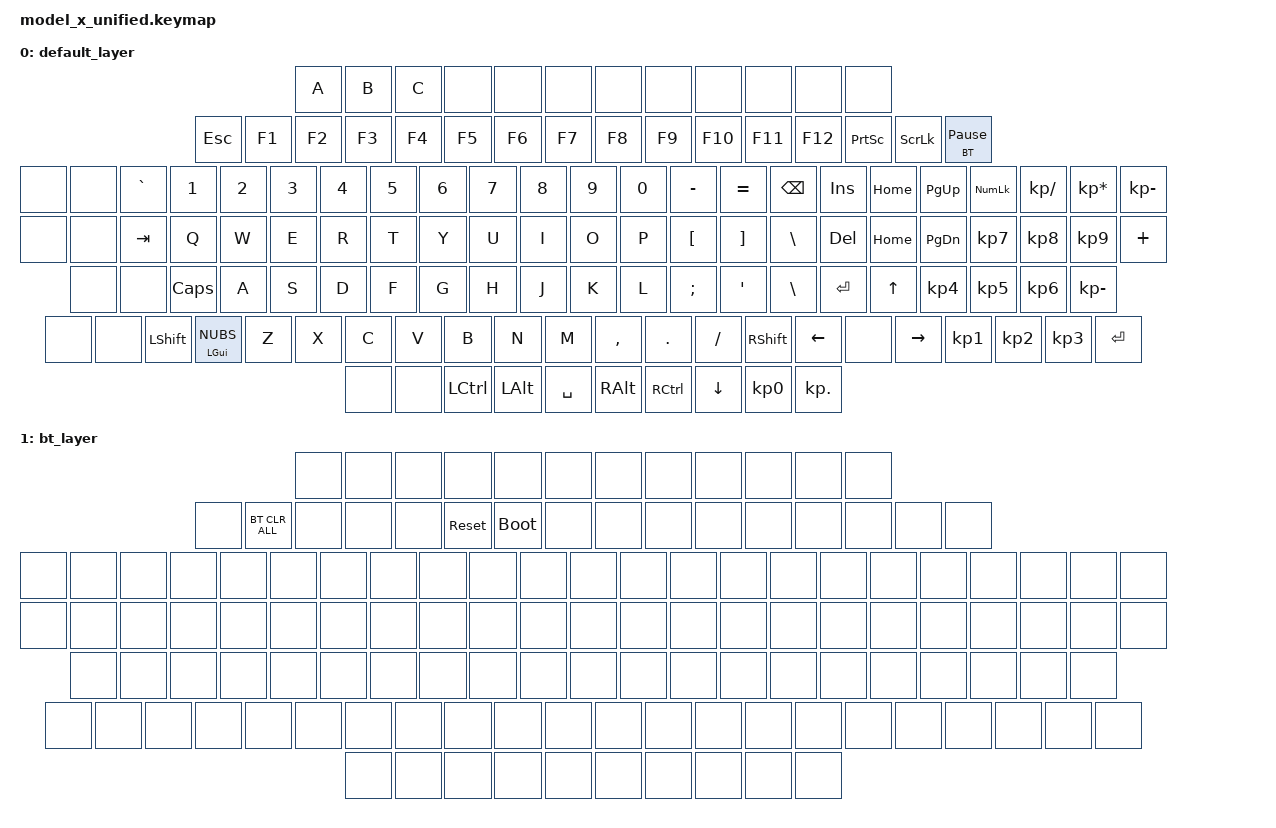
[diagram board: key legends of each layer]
/*
 * Copyright (c) 2020 The ZMK Contributors
 *
 * SPDX-License-Identifier: MIT
 */

#include <behaviors.dtsi>
#include <dt-bindings/zmk/keys.h>
#include <dt-bindings/zmk/bt.h>
#include <dt-bindings/zmk/outputs.h>
#include <dt-bindings/zmk/ext_power.h>

#define DEFAULT 0
#define BT      1

/ {
    keymap {
        compatible = "zmk,keymap";


        default_layer {
        //                          -------------------------------------------------------------------------------------------------
        //                          | PF13  | PF14  | PF15  | PF16  | PF17  | PF18  | PF19  | PF20  | PF21  | PF22  | PF23  | PF24  |
        //          | Esc   |       | PF1   | PF2   | PF3   | PF4   | PF5   | PF6   | PF7   | PF8   | PF9   | PF10  | PF11  | PF12  |                               |PrtSCR | SLCK  |BREAK  |
        //  -------------------------------------------------------------------------------------------------------------------------------------------------
        //  | Attn  | Clear |       |  `    |  1    |  2    |  3    |  4    |  5    |  6    |  7    |  8    |  9    |  0    |  -    |  =    |   BKSP        |       |INSERT | HOME  |PAGE_UP|           | BL_NUM     | KP_SLASH   | STAR       | KP_MINUS   |
        //  | Blank | ErImp |       |    TAB    |  Q    |  W    |  E    |  R    |  T    |  Y    |  U    |  I    |  O    |  P    |   [   |   ]   |  Ansi \   |       |DELETE | END   |PAGE_DW            | KP_N7      | KP_N8      | KP_N9      | KP_PLUS    |
        //  | ExSel | ErEOF |       | CAPS        |   A   |   S   |   D   |   F   |   G   |   H   |   J   |   K   |   L   |   ;   |   '   | Iso \ |  ENTER  |               |  UP   |                   | KP N4      | KP N5      | KP N6      | M122 -     |
        //  | Print |  Test |       | LSHIFT  |   <>  |   Z   |   X   |   C   |   V   |   B   |   N   |   M   |   ,   |   .   |   /   |        RSHIFT       |       | LEFT  | Blank | RIGHT |           | KP N1      | KP N2      | KP N3      | K ENT      |
        //  |  ??   |  ??   |       |   Reset   |       |    ALT    |                        SPACE                          |    ALT    |       |   Enter   |               | DOWN  |                   |     KP 0                | KP .       |            |
        //  -------------------------------------------------------------------------------------------------------------------------------------------------
            bindings = <
        //                          -------------------------------------------------------------------------------------------------
        //                          | PF13  | PF14  | PF15  | PF16  | PF17  | PF18  | PF19  | PF20  | PF21  | PF22  | PF23  | PF24  |
                                     &kp A   &kp B   &kp C   &none   &none   &none   &none   &none   &none   &none   &none   &none

        //          | Esc   |       | PF1   | PF2   | PF3   | PF4   | PF5   | PF6   | PF7   | PF8   | PF9   | PF10  | PF11  | PF12  |                               |PrtSCR | SLCK  |BREAK  |
                     &kp ESC         &kp F1  &kp F2  &kp F3  &kp F4  &kp F5  &kp F6  &kp F7  &kp F8  &kp F9  &kp F10 &kp F11 &kp F12                              &kp PSCRN &kp SLCK &lt BT PAUSE_BREAK

        //  -------------------------------------------------------------------------------------------------------------------------------------------------
        //  | Attn  | Clear |       |  `    |  1    |  2    |  3    |  4    |  5    |  6    |  7    |  8    |  9    |  0    |  -    |  =    |   BKSP        |       |INSERT | HOME  |PAGE_UP|           | BL_NUM     | KP_SLASH   | STAR       | KP_MINUS   |
              &none  &none         &kp GRAVE &kp N1  &kp N2  &kp N3  &kp N4  &kp N5  &kp N6  &kp N7  &kp N8  &kp N9 &kp N0 &kp MINUS &kp EQUAL   &kp BSPC          &kp INS  &kp HOME &kp PAGE_UP    &kp KP_NUMLOCK &kp KP_SLASH &kp KP_ASTERISK &kp KP_MINUS

        //  | Blank | ErImp |       |    TAB    |  Q    |  W    |  E    |  R    |  T    |  Y    |  U    |  I    |  O    |  P    |   [   |   ]   |  Ansi \   |       |DELETE | END   |PAGE_DW            | KP_N7      | KP_N8      | KP_N9      | KP_PLUS    |
              &none  &none            &kp TAB   &kp Q     &kp W   &kp E  &kp R   &kp T   &kp Y   &kp U   &kp I   &kp O   &kp P  &kp LBKT &kp RBKT &kp BSLH         &kp DEL  &kp HOME &kp PG_DN           &kp KP_N7    &kp KP_N8    &kp KP_N9    &kp PLUS

        //  | ExSel | ErEOF |       | CAPS        |   A   |   S   |   D   |   F   |   G   |   H   |   J   |   K   |   L   |   ;   |   '   | Iso \ |  ENTER  |               |  UP   |                   | KP N4      | KP N5      | KP N6      | M122 -     |
              &none  &none             &kp CLCK    &kp A   &kp S   &kp D   &kp F   &kp G   &kp H   &kp J   &kp K   &kp L  &kp SEMI &kp SQT &kp BSLH  &kp RET                 &kp UP                      &kp KP_N4    &kp KP_N5    &kp KP_N6    &kp KP_MINUS

        //  | Print |  Test |       | LSHIFT  |   <>  |   Z   |   X   |   C   |   V   |   B   |   N   |   M   |   ,   |   .   |   /   |        RSHIFT       |       | LEFT  | Blank | RIGHT |           | KP N1      | KP N2      | KP N3      | K ENT      |
              &none  &none        &kp LSHFT &mt LGUI NUBS &kp Z &kp X   &kp C  &kp V   &kp B   &kp N   &kp M  &kp COMMA &kp DOT &kp FSLH     &kp RSHFT              &kp LEFT  &none  &kp RIGHT           &kp KP_N1    &kp KP_N2    &kp KP_N3    &kp RET

        //  |  ??   |  ??   |       |   Reset   |       |    ALT    |                        SPACE                          |    ALT    |       |   Enter   |               | DOWN  |                   |     KP 0                | KP .       |            |
              &none  &none           &kp LCTRL            &kp LALT                        &kp SPACE                            &kp RALT          &kp RCTRL                  &kp DOWN                     &kp KP_N0                 &kp KP_DOT                              
        //  -------------------------------------------------------------------------------------------------------------------------------------------------
            >;
        };


        bt_layer {
        //                          -------------------------------------------------------------------------------------------------
        //                          | PF13  | PF14  | PF15  | PF16  | PF17  | PF18  | PF19  | PF20  | PF21  | PF22  | PF23  | PF24  |
        //          | Esc   |       | PF1   | PF2   | PF3   | PF4   | PF5   | PF6   | PF7   | PF8   | PF9   | PF10  | PF11  | PF12  |                               |PrtSCR | SLCK  |BREAK  |
        //  -------------------------------------------------------------------------------------------------------------------------------------------------
        //  | Attn  | Clear |       |  `    |  1    |  2    |  3    |  4    |  5    |  6    |  7    |  8    |  9    |  0    |  -    |  =    |   BKSP        |       |INSERT | HOME  |PAGE_UP|           | BL_NUM     | KP_SLASH   | STAR       | KP_MINUS   |
        //  | Blank | ErImp |       |    TAB    |  Q    |  W    |  E    |  R    |  T    |  Y    |  U    |  I    |  O    |  P    |   [   |   ]   |  Ansi \   |       |DELETE | END   |PAGE_DW            | KP_N7      | KP_N8      | KP_N9      | KP_PLUS    |
        //  | ExSel | ErEOF |       | CAPS        |   A   |   S   |   D   |   F   |   G   |   H   |   J   |   K   |   L   |   ;   |   '   | Iso \ |  ENTER  |               |  UP   |                   | KP N4      | KP N5      | KP N6      | M122 -     |
        //  | Print |  Test |       | LSHIFT  |   <>  |   Z   |   X   |   C   |   V   |   B   |   N   |   M   |   ,   |   .   |   /   |        RSHIFT       |       | LEFT  | Blank | RIGHT |           | KP N1      | KP N2      | KP N3      | K ENT      |
        //  |  ??   |  ??   |       |   Reset   |       |    ALT    |                        SPACE                          |    ALT    |       |   Enter   |               | DOWN  |                   |     KP 0                | KP .       |            |
        //  -------------------------------------------------------------------------------------------------------------------------------------------------
            bindings = <
        //                          -------------------------------------------------------------------------------------------------
        //                          | PF13  | PF14  | PF15  | PF16  | PF17  | PF18  | PF19  | PF20  | PF21  | PF22  | PF23  | PF24  |
                                     &none   &none   &none   &none   &none   &none   &none   &none   &none   &none   &none   &none
    
        //          | Esc   |       | PF1   | PF2   | PF3   | PF4   | PF5   | PF6   | PF7   | PF8   | PF9   | PF10  | PF11  | PF12  |                               |PrtSCR | SLCK  |BREAK  |
                    &none     &bt BT_CLR_ALL &none   &none  &none &sys_reset &bootloader &none &none &none   &none   &none   &none                                   &none   &none   &none
    
        //  -------------------------------------------------------------------------------------------------------------------------------------------------
        //  | Attn  | Clear |       |  `    |  1    |  2    |  3    |  4    |  5    |  6    |  7    |  8    |  9    |  0    |  -    |  =    |   BKSP        |       |INSERT | HOME  |PAGE_UP|           | BL_NUM     | KP_SLASH   | STAR       | KP_MINUS   |
             &none   &none           &none   &none   &none   &none   &none   &none   &none   &none   &none   &none   &none   &none   &none   &none                   &none    &none  &none               &none        &none        &none        &none
    
        //  | Blank | ErImp |       |    TAB    |  Q    |  W    |  E    |  R    |  T    |  Y    |  U    |  I    |  O    |  P    |   [   |   ]   |  Ansi \   |       |DELETE | END   |PAGE_DW            | KP_N7      | KP_N8      | KP_N9      | KP_PLUS    |
             &none  &none            &none       &none   &none   &none   &none   &none   &none   &none   &none   &none   &none   &none   &none   &none               &none    &none  &none               &none        &none        &none        &none
    
        //  | ExSel | ErEOF |       | CAPS        |   A   |   S   |   D   |   F   |   G   |   H   |   J   |   K   |   L   |   ;   |   '   | Iso \ |  ENTER  |               |  UP   |                   | KP N4      | KP N5      | KP N6      | M122 -     |
             &none  &none            &none         &none   &none   &none   &none   &none   &none   &none   &none   &none   &none   &none   &none   &none                     &none                       &none        &none        &none        &none
    
        //  | Print |  Test |       | LSHIFT  |   <>  |   Z   |   X   |   C   |   V   |   B   |   N   |   M   |   ,   |   .   |   /   |        RSHIFT       |       | LEFT  | Blank | RIGHT |           | KP N1      | KP N2      | KP N3      | K ENT      |
             &none   &none           &none     &none   &none   &none   &none   &none   &none   &none   &none   &none   &none   &none       &none                     &none   &none   &none               &none        &none        &none        &none
    
        //  |  ??   |  ??   |       |   Reset   |       |    ALT    |                        SPACE                          |    ALT    |       |   Enter   |               | DOWN  |                   |     KP 0                | KP .       |            |
             &none  &none            &none                 &none                             &none                              &none               &none                     &none                      &none                     &none                                
        //  -------------------------------------------------------------------------------------------------------------------------------------------------
            >;
        };
        
        extra1 {
            status = "reserved";
        };

        extra2 {
            status = "reserved";
        };
    };
};
